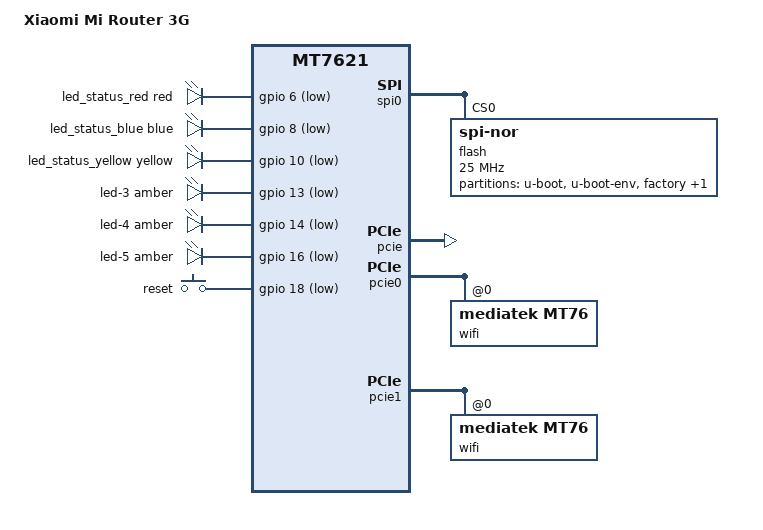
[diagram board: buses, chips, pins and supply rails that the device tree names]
// SPDX-License-Identifier: GPL-2.0-or-later OR MIT

#include "mt7621.dtsi"

#include <dt-bindings/gpio/gpio.h>
#include <dt-bindings/input/input.h>
#include <dt-bindings/leds/common.h>

/ {
	compatible = "xiaomi,mi-router-3g", "mediatek,mt7621-soc";
	model = "Xiaomi Mi Router 3G";

	aliases {
		led-boot = &led_status_yellow;
		led-failsafe = &led_status_red;
		led-running = &led_status_blue;
		led-upgrade = &led_status_yellow;
		label-mac-device = &gmac0;
	};
	
	chosen {
		bootargs = "console=ttyS0,115200";
	};

	leds {
		compatible = "gpio-leds";

		led_status_red: led-0 {
			color = <LED_COLOR_ID_RED>;
			function = LED_FUNCTION_STATUS;
			gpios = <&gpio 6 GPIO_ACTIVE_LOW>;
		};
		
		led_status_blue: led-1 {
			color = <LED_COLOR_ID_BLUE>;
			function = LED_FUNCTION_STATUS;
			gpios = <&gpio 8 GPIO_ACTIVE_LOW>;
		};

		led_status_yellow: led-2 {
			color = <LED_COLOR_ID_YELLOW>;
			function = LED_FUNCTION_STATUS;
			gpios = <&gpio 10 GPIO_ACTIVE_LOW>;
		};
		
		led-3 {
			color = <LED_COLOR_ID_AMBER>;
			function = LED_FUNCTION_WAN;
			gpios = <&gpio 13 GPIO_ACTIVE_LOW>;
			linux,default-trigger = "mt7530-0:01:1Gbps";
		};

		led-4 {
			color = <LED_COLOR_ID_AMBER>;
			function = LED_FUNCTION_LAN;
			function-enumerator = <1>;
			gpios = <&gpio 14 GPIO_ACTIVE_LOW>;
			linux,default-trigger = "mt7530-0:03:1Gbps";
		};

		led-5 {
			color = <LED_COLOR_ID_AMBER>;
			function = LED_FUNCTION_LAN;
			function-enumerator = <2>;
			gpios = <&gpio 16 GPIO_ACTIVE_LOW>;
			linux,default-trigger = "mt7530-0:02:1Gbps";
			
		};
	};
	
	keys: keys {
		compatible = "gpio-keys";

		reset {
			label = "reset";
			gpios = <&gpio 18 GPIO_ACTIVE_LOW>;
			linux,code = <KEY_RESTART>;
		};
	};
};

&spi0 {
	status = "okay";

	flash@0 {
		compatible = "jedec,spi-nor";
		reg = <0>;
		spi-max-frequency = <25000000>;
		broken-flash-reset;

		partitions {
			compatible = "fixed-partitions";
			#address-cells = <1>;
			#size-cells = <1>;

			partition@0 {
				label = "u-boot";
				reg = <0x0 0x30000>;
				read-only;
			};
			
			partition@30000 {
				label = "u-boot-env";
				reg = <0x30000 0x10000>;
				read-only;
			};

			partition@40000 {
				label = "factory";
				reg = <0x40000 0x10000>;
				read-only;

				nvmem-layout {
					compatible = "fixed-layout";
					#address-cells = <1>;
					#size-cells = <1>;

					eeprom_factory_0: eeprom@0 {
						reg = <0x0 0x400>;
					};

					eeprom_factory_8000: eeprom@8000 {
						reg = <0x8000 0x200>;
					};
					
					macaddr_factory_e000: macaddr@e000 {
						reg = <0xe000 0x6>;
					};

					macaddr_factory_e006: macaddr@e006 {
						reg = <0xe006 0x6>;
					};
				};
			};
			
			partition@50000 {
				compatible = "denx,uimage";
				label = "firmware";
				reg = <0x50000 0xfb0000>;
			};
		};
	};
};
					
&pcie {
	status = "okay";
};

&pcie0 {
	wifi@0,0 {
		compatible = "mediatek,mt76";
		reg = <0x0000 0 0 0 0>;
		nvmem-cells = <&eeprom_factory_0>;
		nvmem-cell-names = "eeprom";
		ieee80211-freq-limit = <2400000 2500000>;
	};
};

&pcie1 {
	wifi@0,0 {
		compatible = "mediatek,mt76";
		reg = <0x0000 0 0 0 0>;
		nvmem-cells = <&eeprom_factory_8000>;
		nvmem-cell-names = "eeprom";
		ieee80211-freq-limit = <5000000 6000000>;
	};
};

&gmac0 {
	nvmem-cells = <&macaddr_factory_e006>;
	nvmem-cell-names = "mac-address";
};

&reg_vbus {
	/delete-property/ regulator-always-on;
	gpios = <&gpio 12 GPIO_ACTIVE_HIGH>;
	enable-active-high;
};

&switch0 {
	ports {
		port@1 {
			status = "okay";
			label = "wan";
			nvmem-cells = <&macaddr_factory_e000>;
			nvmem-cell-names = "mac-address";
		};

		port@2 {
			status = "okay";
			label = "lan2";
		};

		port@3 {
			status = "okay";
			label = "lan1";
		};
	};
};

&state_default {
	gpio {
		groups = "jtag", "uart2", "uart3", "wdt";
		function = "gpio";
	};
};
